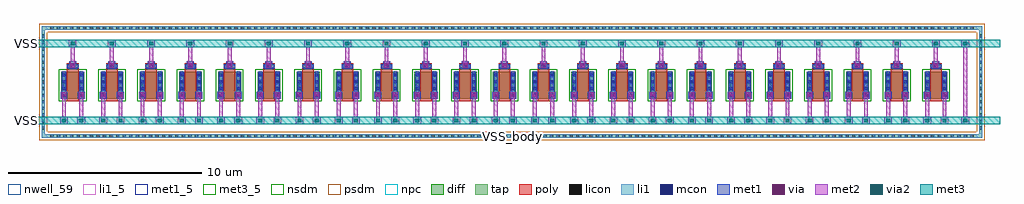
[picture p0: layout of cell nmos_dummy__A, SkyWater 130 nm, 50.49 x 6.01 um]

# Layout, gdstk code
import gdstk
lib = gdstk.Library(unit=1e-6, precision=1e-09)
def R(c, l, rs):  # rectangles x0, y0, x1, y1
    for r in rs: c.add(gdstk.rectangle(r[:2], r[2:], *l))
def A(c, l, x, y, w, h, nx, ny, dx, dy):  # array of equal rectangles
    R(c, l, [(x+i*dx, y+j*dy, x+i*dx+w, y+j*dy+h) for i in range(nx) for j in range(ny)])
nwell_59 = (64, 59)
diff = (65, 20)
tap = (65, 44)
poly = (66, 20)
licon = (66, 44)
li1_5 = (67, 5)
li1 = (67, 20)
mcon = (67, 44)
met1_5 = (68, 5)
met1 = (68, 20)
via = (68, 44)
met2 = (69, 20)
via2 = (69, 44)
met3_5 = (70, 5)
met3 = (70, 20)
nsdm = (93, 44)
psdm = (94, 20)
npc = (95, 20)

sky130_fd_pr__nfet_01v8_ = lib.new_cell('sky130_fd_pr__nfet_01v8_RUA5M6')
R(sky130_fd_pr__nfet_01v8_, diff, [(-0.59,-0.855,0.59,0.545)])
R(sky130_fd_pr__nfet_01v8_, poly, [(-0.3,-0.985,0.3,0.985)])
A(sky130_fd_pr__nfet_01v8_, licon, -0.53, -0.75, 0.17, 0.17, 1, 4, 0, 0.34)
A(sky130_fd_pr__nfet_01v8_, licon, 0.36, -0.75, 0.17, 0.17, 1, 4, 0, 0.34)
R(sky130_fd_pr__nfet_01v8_, licon, [(-0.085,0.735,0.085,0.905)])
R(sky130_fd_pr__nfet_01v8_, li1, [(-0.53,-0.875,-0.36,0.565), (0.36,-0.875,0.53,0.565), (-0.3,0.735,0.3,0.905)])
A(sky130_fd_pr__nfet_01v8_, mcon, -0.53, -0.78, 0.17, 0.17, 1, 4, 0, 0.36)
A(sky130_fd_pr__nfet_01v8_, mcon, 0.36, -0.78, 0.17, 0.17, 1, 4, 0, 0.36)
R(sky130_fd_pr__nfet_01v8_, mcon, [(-0.085,0.735,0.085,0.905)])
R(sky130_fd_pr__nfet_01v8_, met1, [(-0.56,-0.855,-0.33,0.545), (0.33,-0.855,0.56,0.545), (-0.28,0.705,0.28,0.935)])
R(sky130_fd_pr__nfet_01v8_, nsdm, [(-0.715,-0.98,0.715,0.67)])
R(sky130_fd_pr__nfet_01v8_, npc, [(-0.185,0.635,0.185,1.005)])
sky130_fd_pr__nfet_01v8_.add(gdstk.Label('D', (-0.445,-0.155), layer=67, texttype=5))
sky130_fd_pr__nfet_01v8_.add(gdstk.Label('S', (0.445,-0.155), layer=67, texttype=5))
sky130_fd_pr__nfet_01v8_.add(gdstk.Label('G', (0,0.82), layer=67, texttype=5))

nfet_01v8_w1p4_l0p6_m23_ = lib.new_cell('nfet_01v8_W1p4_L0p6_m23__nf1_gtop_sdfull_ng')
R(nfet_01v8_w1p4_l0p6_m23_, nwell_59, [(0.05,0.78,0.15,0.88)])
R(nfet_01v8_w1p4_l0p6_m23_, met1_5, [(0.03,0.83,0.26,1.03), (0.92,0.83,1.15,1.03), (0.31,1.69,0.87,1.92)])
R(nfet_01v8_w1p4_l0p6_m23_, met1, [(0.03,0.83,0.26,1.03), (0.92,0.83,1.15,1.03), (0.31,1.69,0.87,1.92)])
nfet_01v8_w1p4_l0p6_m23_.add(gdstk.Reference(sky130_fd_pr__nfet_01v8_, (0.59,0.985)))
nfet_01v8_w1p4_l0p6_m23_.add(gdstk.Label('D', (0.145,0.93), layer=68, texttype=5))
nfet_01v8_w1p4_l0p6_m23_.add(gdstk.Label('S', (1.035,0.93), layer=68, texttype=5))
nfet_01v8_w1p4_l0p6_m23_.add(gdstk.Label('G', (0.59,1.805), layer=68, texttype=5))
nfet_01v8_w1p4_l0p6_m23_.add(gdstk.Label('B', (0.1,0.83), layer=64, texttype=59))

nmos_dummy__a = lib.new_cell('nmos_dummy__A')
R(nmos_dummy__a, tap, [(-0.885,-1.885,47.775,-1.715), (-0.885,-1.715,-0.715,3.705), (47.605,-1.715,47.775,3.705), (-0.885,3.705,47.775,3.875)])
A(nmos_dummy__a, licon, -0.44, -1.885, 0.17, 0.17, 141, 2, 0.34, 5.59)
A(nmos_dummy__a, licon, -0.885, -1.47, 0.17, 0.17, 1, 15, 0, 0.34)
A(nmos_dummy__a, licon, 47.605, -1.47, 0.17, 0.17, 1, 15, 0, 0.34)
R(nmos_dummy__a, li1_5, [(23.395,-1.85,23.495,-1.75)])
R(nmos_dummy__a, li1, [(-0.885,-1.885,47.775,-1.715), (-0.885,-1.715,-0.715,3.705), (47.605,-1.715,47.775,3.705), (-0.885,3.705,47.775,3.875)])
A(nmos_dummy__a, met1, 0.535, 1.72, 0.36, 0.36, 23, 1, 2.03, 0)
R(nmos_dummy__a, met1, [(0.09,0.13,0.45,0.49), (0.98,0.13,1.34,0.49), (2.12,0.13,2.48,0.49), (3.01,0.13,3.37,0.49), (4.15,0.13,4.51,0.49), (5.04,0.13,5.4,0.49), (6.18,0.13,6.54,0.49), (7.07,0.13,7.43,0.49), (8.21,0.13,8.57,0.49), (9.1,0.13,9.46,0.49), (10.24,0.13,10.6,0.49), (11.13,0.13,11.49,0.49), (12.27,0.13,12.63,0.49), (13.16,0.13,13.52,0.49), (14.3,0.13,14.66,0.49), (15.19,0.13,15.55,0.49), (16.33,0.13,16.69,0.49), (17.22,0.13,17.58,0.49), (18.36,0.13,18.72,0.49), (19.25,0.13,19.61,0.49), (20.39,0.13,20.75,0.49), (21.28,0.13,21.64,0.49), (22.42,0.13,22.78,0.49), (23.31,0.13,23.67,0.49), (24.45,0.13,24.81,0.49), (25.34,0.13,25.7,0.49), (26.48,0.13,26.84,0.49), (27.37,0.13,27.73,0.49), (28.51,0.13,28.87,0.49), (29.4,0.13,29.76,0.49), (30.54,0.13,30.9,0.49), (31.43,0.13,31.79,0.49), (32.57,0.13,32.93,0.49), (33.46,0.13,33.82,0.49), (34.6,0.13,34.96,0.49), (35.49,0.13,35.85,0.49), (36.63,0.13,36.99,0.49), (37.52,0.13,37.88,0.49), (38.66,0.13,39.02,0.49), (39.55,0.13,39.91,0.49), (40.69,0.13,41.05,0.49), (41.58,0.13,41.94,0.49), (42.72,0.13,43.08,0.49), (43.61,0.13,43.97,0.49), (44.75,0.13,45.11,0.49), (45.64,0.13,46,0.49)])
A(nmos_dummy__a, via, 0.64, 1.825, 0.15, 0.15, 23, 1, 2.03, 0)
R(nmos_dummy__a, via, [(0.195,0.235,0.345,0.385), (1.085,0.235,1.235,0.385), (2.225,0.235,2.375,0.385), (3.115,0.235,3.265,0.385), (4.255,0.235,4.405,0.385), (5.145,0.235,5.295,0.385), (6.285,0.235,6.435,0.385), (7.175,0.235,7.325,0.385), (8.315,0.235,8.465,0.385), (9.205,0.235,9.355,0.385), (10.345,0.235,10.495,0.385), (11.235,0.235,11.385,0.385), (12.375,0.235,12.525,0.385), (13.265,0.235,13.415,0.385), (14.405,0.235,14.555,0.385), (15.295,0.235,15.445,0.385), (16.435,0.235,16.585,0.385), (17.325,0.235,17.475,0.385), (18.465,0.235,18.615,0.385), (19.355,0.235,19.505,0.385), (20.495,0.235,20.645,0.385), (21.385,0.235,21.535,0.385), (22.525,0.235,22.675,0.385), (23.415,0.235,23.565,0.385), (24.555,0.235,24.705,0.385), (25.445,0.235,25.595,0.385), (26.585,0.235,26.735,0.385), (27.475,0.235,27.625,0.385), (28.615,0.235,28.765,0.385), (29.505,0.235,29.655,0.385), (30.645,0.235,30.795,0.385), (31.535,0.235,31.685,0.385), (32.675,0.235,32.825,0.385), (33.565,0.235,33.715,0.385), (34.705,0.235,34.855,0.385), (35.595,0.235,35.745,0.385), (36.735,0.235,36.885,0.385), (37.625,0.235,37.775,0.385), (38.765,0.235,38.915,0.385), (39.655,0.235,39.805,0.385), (40.795,0.235,40.945,0.385), (41.685,0.235,41.835,0.385), (42.825,0.235,42.975,0.385), (43.715,0.235,43.865,0.385), (44.855,0.235,45.005,0.385), (45.745,0.235,45.895,0.385)])
A(nmos_dummy__a, met2, 0.585, 1.74, 0.26, 0.32, 23, 1, 2.03, 0)
A(nmos_dummy__a, met2, 0.615, 2.06, 0.2, 0.73, 23, 1, 2.03, 0)
A(nmos_dummy__a, met2, 0.515, 2.79, 0.4, 0.4, 23, 1, 2.03, 0)
R(nmos_dummy__a, met2, [(0.07,-1.2,0.47,-0.8), (0.96,-1.2,1.36,-0.8), (2.1,-1.2,2.5,-0.8), (2.99,-1.2,3.39,-0.8), (4.13,-1.2,4.53,-0.8), (5.02,-1.2,5.42,-0.8), (6.16,-1.2,6.56,-0.8), (7.05,-1.2,7.45,-0.8), (8.19,-1.2,8.59,-0.8), (9.08,-1.2,9.48,-0.8), (10.22,-1.2,10.62,-0.8), (11.11,-1.2,11.51,-0.8), (12.25,-1.2,12.65,-0.8), (13.14,-1.2,13.54,-0.8), (14.28,-1.2,14.68,-0.8), (15.17,-1.2,15.57,-0.8), (16.31,-1.2,16.71,-0.8), (17.2,-1.2,17.6,-0.8), (18.34,-1.2,18.74,-0.8), (19.23,-1.2,19.63,-0.8), (20.37,-1.2,20.77,-0.8), (21.26,-1.2,21.66,-0.8), (22.4,-1.2,22.8,-0.8), (23.29,-1.2,23.69,-0.8), (24.43,-1.2,24.83,-0.8), (25.32,-1.2,25.72,-0.8), (26.46,-1.2,26.86,-0.8), (27.35,-1.2,27.75,-0.8), (28.49,-1.2,28.89,-0.8), (29.38,-1.2,29.78,-0.8), (30.52,-1.2,30.92,-0.8), (31.41,-1.2,31.81,-0.8), (32.55,-1.2,32.95,-0.8), (33.44,-1.2,33.84,-0.8), (34.58,-1.2,34.98,-0.8), (35.47,-1.2,35.87,-0.8), (36.61,-1.2,37.01,-0.8), (37.5,-1.2,37.9,-0.8), (38.64,-1.2,39.04,-0.8), (39.53,-1.2,39.93,-0.8), (40.67,-1.2,41.07,-0.8), (41.56,-1.2,41.96,-0.8), (42.7,-1.2,43.1,-0.8), (43.59,-1.2,43.99,-0.8), (44.73,-1.2,45.13,-0.8), (45.62,-1.2,46.02,-0.8), (46.69,-1.2,47.09,-0.8), (0.17,-0.8,0.37,0.15), (1.06,-0.8,1.26,0.15), (2.2,-0.8,2.4,0.15), (3.09,-0.8,3.29,0.15), (4.23,-0.8,4.43,0.15), (5.12,-0.8,5.32,0.15), (6.26,-0.8,6.46,0.15), (7.15,-0.8,7.35,0.15), (8.29,-0.8,8.49,0.15), (9.18,-0.8,9.38,0.15), (10.32,-0.8,10.52,0.15), (11.21,-0.8,11.41,0.15), (12.35,-0.8,12.55,0.15), (13.24,-0.8,13.44,0.15), (14.38,-0.8,14.58,0.15), (15.27,-0.8,15.47,0.15), (16.41,-0.8,16.61,0.15), (17.3,-0.8,17.5,0.15), (18.44,-0.8,18.64,0.15), (19.33,-0.8,19.53,0.15), (20.47,-0.8,20.67,0.15), (21.36,-0.8,21.56,0.15), (22.5,-0.8,22.7,0.15), (23.39,-0.8,23.59,0.15), (24.53,-0.8,24.73,0.15), (25.42,-0.8,25.62,0.15), (26.56,-0.8,26.76,0.15), (27.45,-0.8,27.65,0.15), (28.59,-0.8,28.79,0.15), (29.48,-0.8,29.68,0.15), (30.62,-0.8,30.82,0.15), (31.51,-0.8,31.71,0.15), (32.65,-0.8,32.85,0.15), (33.54,-0.8,33.74,0.15), (34.68,-0.8,34.88,0.15), (35.57,-0.8,35.77,0.15), (36.71,-0.8,36.91,0.15), (37.6,-0.8,37.8,0.15), (38.74,-0.8,38.94,0.15), (39.63,-0.8,39.83,0.15), (40.77,-0.8,40.97,0.15), (41.66,-0.8,41.86,0.15), (42.8,-0.8,43,0.15), (43.69,-0.8,43.89,0.15), (44.83,-0.8,45.03,0.15), (45.72,-0.8,45.92,0.15), (46.79,-0.8,46.99,2.79), (0.14,0.15,0.4,0.47), (1.03,0.15,1.29,0.47), (2.17,0.15,2.43,0.47), (3.06,0.15,3.32,0.47), (4.2,0.15,4.46,0.47), (5.09,0.15,5.35,0.47), (6.23,0.15,6.49,0.47), (7.12,0.15,7.38,0.47), (8.26,0.15,8.52,0.47), (9.15,0.15,9.41,0.47), (10.29,0.15,10.55,0.47), (11.18,0.15,11.44,0.47), (12.32,0.15,12.58,0.47), (13.21,0.15,13.47,0.47), (14.35,0.15,14.61,0.47), (15.24,0.15,15.5,0.47), (16.38,0.15,16.64,0.47), (17.27,0.15,17.53,0.47), (18.41,0.15,18.67,0.47), (19.3,0.15,19.56,0.47), (20.44,0.15,20.7,0.47), (21.33,0.15,21.59,0.47), (22.47,0.15,22.73,0.47), (23.36,0.15,23.62,0.47), (24.5,0.15,24.76,0.47), (25.39,0.15,25.65,0.47), (26.53,0.15,26.79,0.47), (27.42,0.15,27.68,0.47), (28.56,0.15,28.82,0.47), (29.45,0.15,29.71,0.47), (30.59,0.15,30.85,0.47), (31.48,0.15,31.74,0.47), (32.62,0.15,32.88,0.47), (33.51,0.15,33.77,0.47), (34.65,0.15,34.91,0.47), (35.54,0.15,35.8,0.47), (36.68,0.15,36.94,0.47), (37.57,0.15,37.83,0.47), (38.71,0.15,38.97,0.47), (39.6,0.15,39.86,0.47), (40.74,0.15,41,0.47), (41.63,0.15,41.89,0.47), (42.77,0.15,43.03,0.47), (43.66,0.15,43.92,0.47), (44.8,0.15,45.06,0.47), (45.69,0.15,45.95,0.47), (46.69,2.79,47.09,3.19)])
A(nmos_dummy__a, via2, 0.615, 2.89, 0.2, 0.2, 23, 1, 2.03, 0)
R(nmos_dummy__a, via2, [(0.17,-1.1,0.37,-0.9), (1.06,-1.1,1.26,-0.9), (2.2,-1.1,2.4,-0.9), (3.09,-1.1,3.29,-0.9), (4.23,-1.1,4.43,-0.9), (5.12,-1.1,5.32,-0.9), (6.26,-1.1,6.46,-0.9), (7.15,-1.1,7.35,-0.9), (8.29,-1.1,8.49,-0.9), (9.18,-1.1,9.38,-0.9), (10.32,-1.1,10.52,-0.9), (11.21,-1.1,11.41,-0.9), (12.35,-1.1,12.55,-0.9), (13.24,-1.1,13.44,-0.9), (14.38,-1.1,14.58,-0.9), (15.27,-1.1,15.47,-0.9), (16.41,-1.1,16.61,-0.9), (17.3,-1.1,17.5,-0.9), (18.44,-1.1,18.64,-0.9), (19.33,-1.1,19.53,-0.9), (20.47,-1.1,20.67,-0.9), (21.36,-1.1,21.56,-0.9), (22.5,-1.1,22.7,-0.9), (23.39,-1.1,23.59,-0.9), (24.53,-1.1,24.73,-0.9), (25.42,-1.1,25.62,-0.9), (26.56,-1.1,26.76,-0.9), (27.45,-1.1,27.65,-0.9), (28.59,-1.1,28.79,-0.9), (29.48,-1.1,29.68,-0.9), (30.62,-1.1,30.82,-0.9), (31.51,-1.1,31.71,-0.9), (32.65,-1.1,32.85,-0.9), (33.54,-1.1,33.74,-0.9), (34.68,-1.1,34.88,-0.9), (35.57,-1.1,35.77,-0.9), (36.71,-1.1,36.91,-0.9), (37.6,-1.1,37.8,-0.9), (38.74,-1.1,38.94,-0.9), (39.63,-1.1,39.83,-0.9), (40.77,-1.1,40.97,-0.9), (41.66,-1.1,41.86,-0.9), (42.8,-1.1,43,-0.9), (43.69,-1.1,43.89,-0.9), (44.83,-1.1,45.03,-0.9), (45.72,-1.1,45.92,-0.9), (46.79,-1.1,46.99,-0.9), (46.79,2.89,46.99,3.09)])
R(nmos_dummy__a, met3_5, [(-1.7,-1.05,-1.6,-0.95), (-1.7,2.94,-1.6,3.04)])
R(nmos_dummy__a, met3, [(-1.8,-1.2,48.69,-0.8), (-1.8,2.79,48.69,3.19)])
R(nmos_dummy__a, psdm, [(-1.01,-2.01,47.9,-1.59), (-1.01,-1.59,-0.59,3.58), (47.48,-1.59,47.9,3.58), (-1.01,3.58,47.9,4)])
nmos_dummy__a.add(gdstk.Reference(nfet_01v8_w1p4_l0p6_m23_, (44.79,0)))
nmos_dummy__a.add(gdstk.Reference(nfet_01v8_w1p4_l0p6_m23_, (42.76,0)))
nmos_dummy__a.add(gdstk.Reference(nfet_01v8_w1p4_l0p6_m23_, (40.73,0)))
nmos_dummy__a.add(gdstk.Reference(nfet_01v8_w1p4_l0p6_m23_, (38.7,0)))
nmos_dummy__a.add(gdstk.Reference(nfet_01v8_w1p4_l0p6_m23_, (36.67,0)))
nmos_dummy__a.add(gdstk.Reference(nfet_01v8_w1p4_l0p6_m23_, (34.64,0)))
nmos_dummy__a.add(gdstk.Reference(nfet_01v8_w1p4_l0p6_m23_, (32.61,0)))
nmos_dummy__a.add(gdstk.Reference(nfet_01v8_w1p4_l0p6_m23_, (30.58,0)))
nmos_dummy__a.add(gdstk.Reference(nfet_01v8_w1p4_l0p6_m23_, (28.55,0)))
nmos_dummy__a.add(gdstk.Reference(nfet_01v8_w1p4_l0p6_m23_, (26.52,0)))
nmos_dummy__a.add(gdstk.Reference(nfet_01v8_w1p4_l0p6_m23_, (24.49,0)))
nmos_dummy__a.add(gdstk.Reference(nfet_01v8_w1p4_l0p6_m23_, (22.46,0)))
nmos_dummy__a.add(gdstk.Reference(nfet_01v8_w1p4_l0p6_m23_, (20.43,0)))
nmos_dummy__a.add(gdstk.Reference(nfet_01v8_w1p4_l0p6_m23_, (18.4,0)))
nmos_dummy__a.add(gdstk.Reference(nfet_01v8_w1p4_l0p6_m23_, (16.37,0)))
nmos_dummy__a.add(gdstk.Reference(nfet_01v8_w1p4_l0p6_m23_, (14.34,0)))
nmos_dummy__a.add(gdstk.Reference(nfet_01v8_w1p4_l0p6_m23_, (12.31,0)))
nmos_dummy__a.add(gdstk.Reference(nfet_01v8_w1p4_l0p6_m23_, (10.28,0)))
nmos_dummy__a.add(gdstk.Reference(nfet_01v8_w1p4_l0p6_m23_, (8.25,0)))
nmos_dummy__a.add(gdstk.Reference(nfet_01v8_w1p4_l0p6_m23_, (6.22,0)))
nmos_dummy__a.add(gdstk.Reference(nfet_01v8_w1p4_l0p6_m23_, (4.19,0)))
nmos_dummy__a.add(gdstk.Reference(nfet_01v8_w1p4_l0p6_m23_, (2.16,0)))
nmos_dummy__a.add(gdstk.Reference(nfet_01v8_w1p4_l0p6_m23_, (0.13,0)))
nmos_dummy__a.add(gdstk.Label('VSS', (-1.65,2.99), layer=70, texttype=5))
nmos_dummy__a.add(gdstk.Label('VSS', (-1.65,-1), layer=70, texttype=5))
nmos_dummy__a.add(gdstk.Label('VSS_body', (23.445,-1.8), layer=67, texttype=5))

lib.write_gds('nmos_dummy__A.gds')
